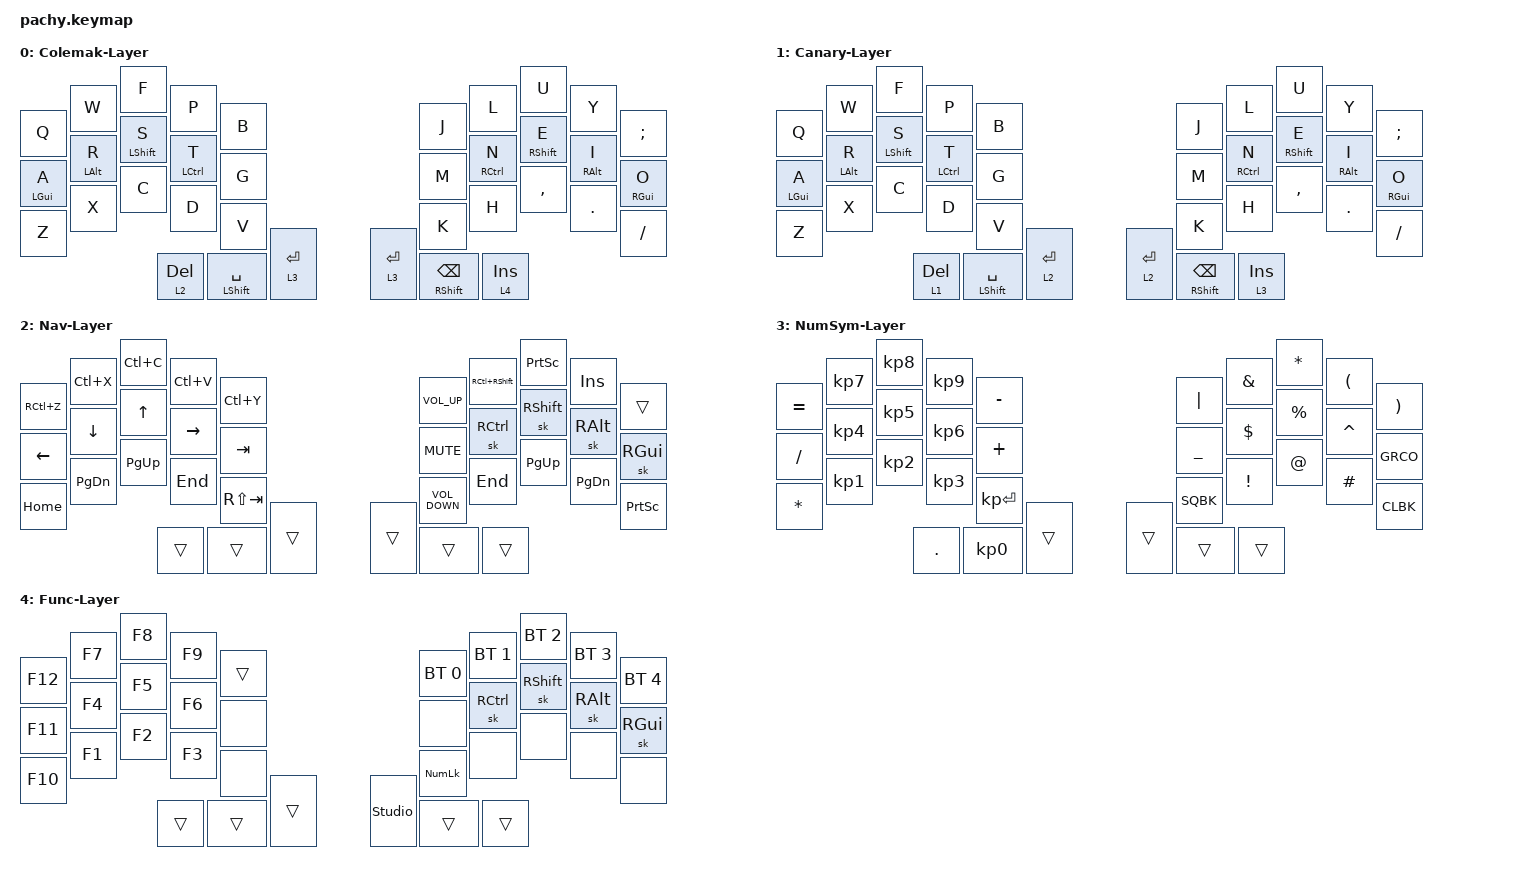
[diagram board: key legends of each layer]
/*
 * Copyright (c) 2020 The ZMK Contributors
 *
 * SPDX-License-Identifier: MIT
 */

#include <behaviors.dtsi>
#include <dt-bindings/zmk/bt.h>
#include <dt-bindings/zmk/keys.h>
#include <dt-bindings/zmk/rgb.h>

&soft_off {
    hold-time-ms = <2000>; // Only turn off it the key is held for 2 seconds or longer.
};

/ {
    combos {
        compatible = "zmk,combos";

        QFTILDE {
            bindings = <&kp GRAVE>;
            key-positions = <1 3>;
        };

        TAB_BACK {
            bindings = <&kp LS(TAB)>;
            key-positions = <25 26>;
        };

        CAPSWORD {
            bindings = <&caps_word>;
            key-positions = <33 34>;
        };

        BKSLH {
            bindings = <&kp BACKSLASH>;
            key-positions = <10 9>;
        };
    };

    macros {
        SQBK: SQBK {
            compatible = "zmk,behavior-macro";
            #binding-cells = <0>;
            bindings = <&kp LEFT_BRACKET &kp RIGHT_BRACKET &kp LEFT>;
            label = "SQBK";
        };

        CLBK: CLBK {
            compatible = "zmk,behavior-macro";
            #binding-cells = <0>;
            bindings = <&kp LEFT_BRACE &kp RIGHT_BRACE &kp LEFT>;
            label = "CLBK";
        };

        GRCO: GRCO {
            compatible = "zmk,behavior-macro";
            #binding-cells = <0>;
            bindings = <&kp LEFT_PARENTHESIS &kp DOUBLE_QUOTES &kp GRAVE>;
            label = "GRCO";
        };
    };

    behaviors {
        hrl: hrl {
            compatible = "zmk,behavior-hold-tap";
            label = "HRL";
            bindings = <&kp>, <&kp>;

            #binding-cells = <2>;
            tapping-term-ms = <300>;
            hold-trigger-key-positions = <6 7 8 9 10 11 23 22 21 20 18 19 30 31 32 33 34 35 36>;
            flavor = "balanced";
            quick-tap-ms = <175>;
            require-prior-idle-ms = <75>;
            hold-trigger-on-release;
        };

        hrr: hrr {
            compatible = "zmk,behavior-hold-tap";
            label = "HRR";
            bindings = <&kp>, <&kp>;

            #binding-cells = <2>;
            tapping-term-ms = <300>;
            quick-tap-ms = <175>;
            require-prior-idle-ms = <75>;
            flavor = "balanced";
            hold-trigger-on-release;
            hold-trigger-key-positions = <4 5 12 13 14 15 16 17 24 25 26 27 28 29 3 2 0 1 36>;
        };
    };

    keymap {
        compatible = "zmk,keymap";

        Colemak-Layer {
            // -------------------------------------------------------------------------------------
            // |  TAB |  Q  |  W  |  E  |  R  |  T  |   |  Y  |  U   |  I  |  O  |  P  |   BKSP    |
            // | CTRL |  A  |  S  |  D  |  F  |  G  |   |  H  |  J   |  K  |  L  |  ;  |    '      |
            // | SHFT |  Z  |  X  |  C  |  V  |  B  |   |  N  |  M   |  ,  |  .  |  /  | SHFT(RET) |
            //                         | ALT | LWR | SPC | RSE  | ALT |

            bindings = <
&kp Q        &kp W        &kp F         &kp P             &kp B               &kp J  &kp L                 &kp U         &kp Y        &kp SEMICOLON  
&hrl LGUI A  &hrl LALT R  &hrl LSHFT S  &hrl LCTRL T      &kp G               &kp M  &hrr RCTRL N          &hrr RSHFT E  &hrr RALT I  &hrr RGUI O    
&kp Z        &kp X        &kp C         &kp D             &kp V               &kp K  &kp H                 &kp COMMA     &kp DOT      &kp FSLH       
                                            &lt 2 DELETE  &hrl LSHFT SPACE         &lt 3 ENTER  &lt 3 ENTER       &hrr RSHFT BACKSPACE  &lt 4 INS
            >;
        };
		
        Canary-Layer {
            // -------------------------------------------------------------------------------------
            // |  TAB |  Q  |  W  |  E  |  R  |  T  |   |  Y  |  U   |  I  |  O  |  P  |   BKSP    |
            // | CTRL |  A  |  S  |  D  |  F  |  G  |   |  H  |  J   |  K  |  L  |  ;  |    '      |
            // | SHFT |  Z  |  X  |  C  |  V  |  B  |   |  N  |  M   |  ,  |  .  |  /  | SHFT(RET) |
            //                         | ALT | LWR | SPC | RSE  | ALT |

            bindings = <
&kp Q        &kp W        &kp F         &kp P             &kp B               &kp J  &kp L                 &kp U         &kp Y        &kp SEMICOLON  
&hrl LGUI A  &hrl LALT R  &hrl LSHFT S  &hrl LCTRL T      &kp G               &kp M  &hrr RCTRL N          &hrr RSHFT E  &hrr RALT I  &hrr RGUI O    
&kp Z        &kp X        &kp C         &kp D             &kp V               &kp K  &kp H                 &kp COMMA     &kp DOT      &kp FSLH       
                                            &lt 1 DELETE  &hrl LSHFT SPACE         &lt 2 ENTER  &lt 2 ENTER       &hrr RSHFT BACKSPACE  &lt 3 INS
            >;
        };

        Nav-Layer {
            // ------------------------------------------------------------------------------------
            // |    |  !  |  @  |  #  |  $  |  %  |   |  ^  |  &  |  *  |  (  |  )  |      DEL    |
            // |    |  _  |  +  |  {  |  }  | "|" |   | LFT | DWN |  UP | RGT |  `  |       ~     |
            // |    | ESC | GUI | ALT | CAPS|  "  |   | HOME| END | PGUP| PGDN| PRSC| SHFT(SPACE) |
            //                       |     |     | RET | ADJ |     |

            bindings = <
			&kp RC(Z)  &kp LC(X)  &kp LC(C)  &kp LC(V)  &kp LC(Y)            &kp C_VOLUME_UP    &kp RC(RSHFT)  &kp PRINTSCREEN  &kp INSERT  &trans     
			&kp LEFT   &kp DOWN   &kp UP     &kp RIGHT  &kp TAB              &kp K_MUTE         &sk RCTRL      &sk RSHFT        &sk RALT    &sk RGUI   
			&kp HOME   &kp PG_DN  &kp PG_UP  &kp END    &kp RS(TAB)          &kp C_VOLUME_DOWN  &kp END        &kp PG_UP        &kp PG_DN   &kp PSCRN  
                              &trans     &trans                  &trans   &trans                     &trans         &trans
            >;
        };

        NumSym-Layer {
            // ----------------------------------------------------------------------------
            // |    |  1  |  2  |  3  |  4  |  5  |   |  6  |  7  |  8  |  9  |  0  | DEL |
            // |    |  -  |  =  |  [  |  ]  |  \  |   | F1  | F2  | F3  | F4  | F5  | F6  |
            // |    | ESC | GUI | ALT | CAPS|  "  |   | F7  | F8  | F9  | F10 | F11 | F12 |
            //                       |     | ADJ | BKSP |    |     |

            bindings = <
			&kp EQUAL     &kp KP_NUMBER_7  &kp KP_NUMBER_8  &kp KP_NUMBER_9  &kp MINUS             &kp PIPE        &kp AMPS  &kp ASTRK  &kp LPAR   &kp RPAR  
			&kp SLASH     &kp KP_NUMBER_4  &kp KP_NUMBER_5  &kp KP_NUMBER_6  &kp PLUS              &kp UNDERSCORE  &kp DLLR  &kp PRCNT  &kp CARET  &GRCO     
			&kp ASTERISK  &kp KP_NUMBER_1  &kp KP_NUMBER_2  &kp KP_NUMBER_3  &kp KP_ENTER          &SQBK           &kp EXCL  &kp AT     &kp HASH   &CLBK     
                                       &kp DOT          &kp KP_NUMBER_0                &trans &trans                   &trans    &trans
            >;
        };

        Func-Layer {
            // -----------------------------------------------------------------------------------------
            // | RGB BRI+ | RGB SAT+ | RGB HUE+ | RGB ANI+ |    | RGB TOG |   |  BT1  | BT2 | BT3 | BT4 | BT5 | BT CLR |
            // | RGB BRI- | RGB SAT- | RGB HUE- | RGB ANI- |    |         |   |       |     |     |     |     |        |
            // |          |          |          |          |    |         |   | RESET |     |     |     |     |        |
            //                                              |     |     |     |     |     |

            bindings = <
			&kp F12  &kp F7  &kp F8  &kp F9  &trans          &bt BT_SEL 0    &bt BT_SEL 1  &bt BT_SEL 2  &bt BT_SEL 3  &bt BT_SEL 4  
			&kp F11  &kp F4  &kp F5  &kp F6  &none           &none           &sk RCTRL     &sk RSHFT     &sk RALT      &sk RGUI      
			&kp F10  &kp F1  &kp F2  &kp F3  &none           &kp KP_NUMLOCK  &none         &none         &none         &none         
                            &trans  &trans          &trans    &studio_unlock                &trans        &trans
            >;
        };


    };

};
